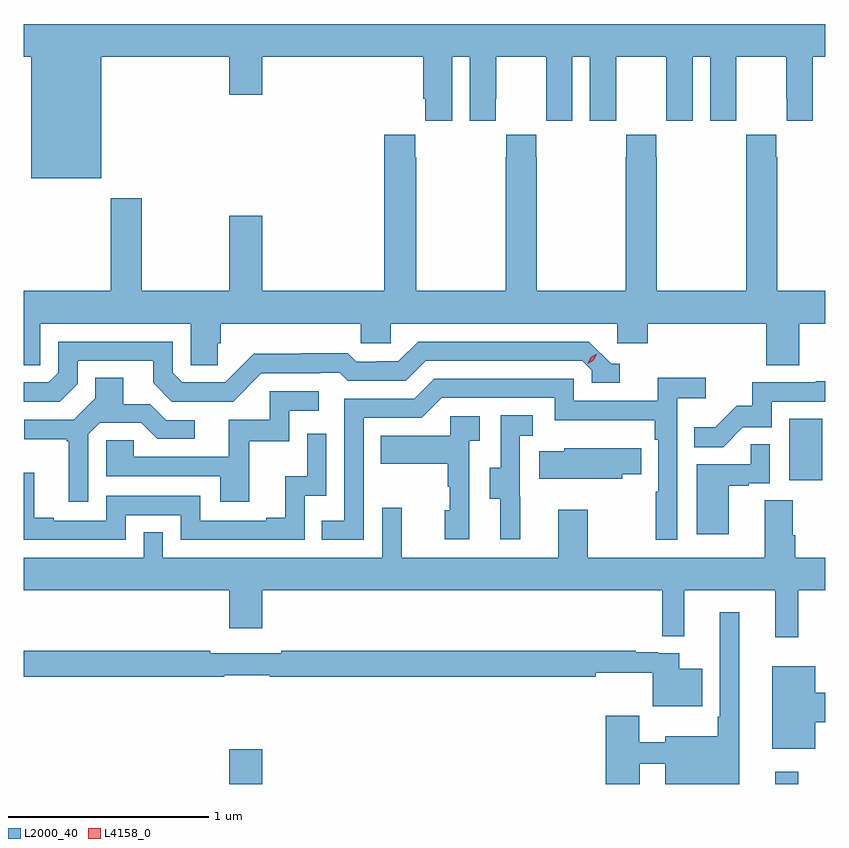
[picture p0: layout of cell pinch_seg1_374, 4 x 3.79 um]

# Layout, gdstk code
import gdstk
lib = gdstk.Library(unit=1e-6, precision=1e-09)
def R(c, l, rs):  # rectangles x0, y0, x1, y1
    for r in rs: c.add(gdstk.rectangle(r[:2], r[2:], *l))
def P(c, l, *ps):  # polygons
    for p in ps: c.add(gdstk.Polygon(p, *l))
L2000_40 = (2000, 40)
L4158_0 = (4158, 0)

pinch_seg1_374 = lib.new_cell('pinch_seg1_374')
R(pinch_seg1_374, L2000_40, [(980.192,525.458,980.356,525.631), (982.916,525.458,983.033,525.52), (982.988,526.974,983.152,527.281)])
P(pinch_seg1_374, L2000_40, [(979.166,529.088),(979.202,529.088),(979.202,528.482),(979.552,528.482),(979.552,529.088),(980.192,529.088),(980.192,528.9),(980.356,528.9),(980.356,529.088),(981.161,529.088),(981.161,528.88),(981.17,528.88),(981.17,528.768),(981.304,528.768),(981.304,529.088),(981.392,529.088),(981.392,528.768),(981.522,528.768),(981.522,528.88),(981.523,528.88),(981.523,529.088),(981.773,529.088),(981.773,528.88),(981.774,528.88),(981.774,528.768),(981.904,528.768),(981.904,529.088),(981.992,529.088),(981.992,528.768),(982.122,528.768),(982.122,528.88),(982.123,528.88),(982.123,529.088),(982.373,529.088),(982.373,528.88),(982.374,528.88),(982.374,528.768),(982.504,528.768),(982.504,529.088),(982.592,529.088),(982.592,528.768),(982.722,528.768),(982.722,528.88),(982.723,528.88),(982.723,529.088),(982.973,529.088),(982.973,528.88),(982.974,528.88),(982.974,528.768),(983.104,528.768),(983.104,529.088),(983.166,529.088),(983.166,529.252),(979.166,529.252)],
  [(982.28,527.756),(982.871,527.756),(982.871,527.548),(983.036,527.548),(983.036,527.756),(983.166,527.756),(983.166,527.92),(982.926,527.92),(982.926,528.587),(982.923,528.587),(982.923,528.7),(982.773,528.7),(982.773,528.587),(982.771,528.587),(982.771,527.92),(982.326,527.92),(982.326,528.587),(982.323,528.587),(982.323,528.7),(982.173,528.7),(982.173,528.587),(982.171,528.587),(982.171,527.92),(981.726,527.92),(981.726,528.587),(981.723,528.587),(981.723,528.7),(981.573,528.7),(981.573,528.587),(981.571,528.587),(981.571,527.92),(981.126,527.92),(981.126,528.587),(981.119,528.587),(981.119,528.7),(980.966,528.7),(980.966,527.92),(980.356,527.92),(980.356,528.295),(980.192,528.295),(980.192,527.92),(979.755,527.92),(979.755,528.382),(979.6,528.382),(979.6,527.92),(979.166,527.92),(979.166,527.548),(979.248,527.548),(979.248,527.756),(979.998,527.756),(979.998,527.548),(980.135,527.548),(980.135,527.658),(980.15,527.658),(980.15,527.756),(980.847,527.756),(980.847,527.658),(980.997,527.658),(980.997,527.756),(982.128,527.756),(982.128,527.658),(982.28,527.658)],
  [(979.434,527.457),(979.434,527.571),(979.811,527.571),(979.811,527.461),(979.905,527.367),(980.211,527.367),(980.352,527.508),(980.645,527.508),(980.645,527.511),(980.744,527.511),(980.783,527.472),(981.072,527.472),(981.171,527.571),(981.954,527.571),(982.002,527.523),(982.002,527.46),(982.141,527.46),(982.141,527.556),(982.098,527.556),(981.987,527.667),(981.134,527.667),(981.035,527.568),(980.928,527.568),(980.928,527.565),(980.825,527.565),(980.783,527.608),(980.55,527.608),(980.55,527.605),(980.314,527.605),(980.172,527.463),(979.956,527.463),(979.908,527.511),(979.908,527.667),(979.338,527.667),(979.338,527.511),(979.29,527.463),(979.166,527.463),(979.166,527.367),(979.344,527.367)],
  [(979.488,527.205),(979.545,527.262),(979.751,527.262),(979.832,527.181),(980.02,527.181),(980.02,527.274),(979.878,527.274),(979.798,527.354),(979.663,527.354),(979.663,527.486),(979.523,527.486),(979.523,527.384),(979.416,527.277),(979.167,527.277),(979.167,527.18),(979.38,527.18),(979.38,527.169),(979.391,527.169),(979.391,526.866),(979.488,526.866)],
  [(980.862,527.286),(981.153,527.286),(981.252,527.385),(981.816,527.385),(981.816,527.273),(982.315,527.273),(982.315,527.177),(982.332,527.177),(982.332,526.916),(982.32,526.916),(982.32,526.677),(982.428,526.677),(982.428,527.384),(982.57,527.384),(982.57,527.486),(982.331,527.486),(982.331,527.37),(981.912,527.37),(981.912,527.481),(981.215,527.481),(981.116,527.382),(980.766,527.382),(980.766,526.773),(980.653,526.773),(980.653,526.677),(980.862,526.677)],
  [(982.755,527.238),(982.899,527.238),(982.899,527.367),(983.166,527.367),(983.166,527.468),(983.119,527.468),(983.119,527.463),(982.801,527.463),(982.801,527.346),(982.724,527.346),(982.617,527.239),(982.513,527.239),(982.513,527.14),(982.657,527.14)],
  [(980.291,527.169),(980.49,527.169),(980.49,527.322),(980.638,527.322),(980.638,527.418),(980.394,527.418),(980.394,527.277),(980.189,527.277),(980.189,527.091),(979.715,527.091),(979.715,527.175),(979.578,527.175),(979.578,526.995),(980.147,526.995),(980.147,526.866),(980.291,526.866)],
  [(981.644,526.893),(981.642,526.893),(981.642,527.197),(981.706,527.197),(981.706,527.3),(981.546,527.3),(981.546,527.037),(981.491,527.037),(981.491,526.882),(981.545,526.882),(981.545,526.68),(981.644,526.68)],
  [(981.39,527.171),(981.442,527.171),(981.442,527.295),(981.294,527.295),(981.294,527.197),(980.947,527.197),(980.947,527.057),(981.282,527.057),(981.282,526.943),(981.292,526.943),(981.292,526.824),(981.266,526.824),(981.266,526.68),(981.39,526.68)],
  [(979.674,526.8),(979.95,526.8),(979.95,526.677),(980.568,526.677),(980.568,526.896),(980.676,526.896),(980.676,527.206),(980.58,527.206),(980.58,526.994),(980.471,526.994),(980.471,526.786),(980.375,526.786),(980.375,526.773),(980.046,526.773),(980.046,526.896),(979.578,526.896),(979.578,526.773),(979.315,526.773),(979.315,526.786),(979.219,526.786),(979.219,527.011),(979.166,527.011),(979.166,526.677),(979.674,526.677)],
  [(982.684,526.947),(982.784,526.947),(982.784,526.959),(982.89,526.959),(982.89,527.153),(982.795,527.153),(982.795,527.055),(982.526,527.055),(982.526,526.704),(982.684,526.704)],
  [(982.153,527.005),(982.247,527.005),(982.247,527.133),(982.136,527.133),(982.136,527.134),(981.864,527.134),(981.864,527.119),(981.739,527.119),(981.739,526.982),(982.153,526.982)],
  [(983.033,526.424),(983.166,526.424),(983.166,526.588),(983.018,526.588),(983.018,526.7),(983.005,526.7),(983.005,526.874),(982.865,526.874),(982.865,526.588),(981.981,526.588),(981.981,526.828),(981.833,526.828),(981.833,526.588),(981.053,526.588),(981.053,526.837),(980.955,526.837),(980.955,526.588),(979.86,526.588),(979.86,526.715),(979.764,526.715),(979.764,526.588),(979.166,526.588),(979.166,526.424),(980.192,526.424),(980.192,526.236),(980.356,526.236),(980.356,526.424),(982.354,526.424),(982.354,526.195),(982.463,526.195),(982.463,526.424),(982.916,526.424),(982.916,526.191),(983.033,526.191)],
  [(982.24,525.558),(982.368,525.558),(982.368,525.458),(982.738,525.458),(982.738,526.315),(982.641,526.315),(982.641,525.793),(982.629,525.793),(982.629,525.697),(982.367,525.697),(982.367,525.667),(982.239,525.667),(982.239,525.799),(982.07,525.799),(982.07,525.458),(982.24,525.458)],
  [(982.552,526.033),(982.438,526.033),(982.438,526.11),(982.334,526.11),(982.334,526.116),(982.22,526.116),(982.22,526.123),(980.452,526.123),(980.452,526.11),(980.096,526.11),(980.096,526.123),(979.166,526.123),(979.166,525.994),(980.167,525.994),(980.167,526.002),(980.393,526.002),(980.393,525.994),(982.02,525.994),(982.02,526.013),(982.305,526.013),(982.305,525.846),(982.552,525.846)],
  [(983.116,525.767),(983.166,525.767),(983.166,525.914),(983.116,525.914),(983.116,526.045),(982.901,526.045),(982.901,525.635),(983.116,525.635)])
P(pinch_seg1_374, L4158_0, [(981.98,527.555),(981.98,527.555),(981.996,527.588),(982.026,527.607),(982.027,527.607),(982.027,527.607),(982.011,527.574),(981.98,527.555)])

lib.write_gds('pinch_seg1_374.gds')
